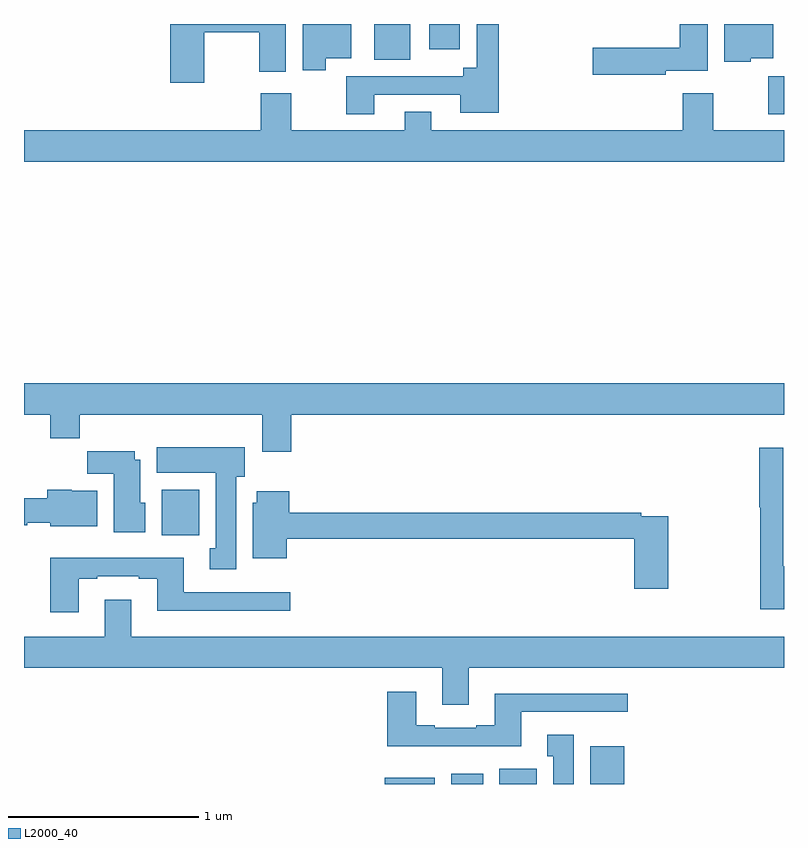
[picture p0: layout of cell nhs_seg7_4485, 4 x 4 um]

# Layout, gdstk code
import gdstk
lib = gdstk.Library(unit=1e-6, precision=1e-09)
def R(c, l, rs):  # rectangles x0, y0, x1, y1
    for r in rs: c.add(gdstk.rectangle(r[:2], r[2:], *l))
def P(c, l, *ps):  # polygons
    for p in ps: c.add(gdstk.Polygon(p, *l))
L2000_40 = (2000, 40)

nhs_seg7_4485 = lib.new_cell('nhs_seg7_4485')
R(nhs_seg7_4485, L2000_40, [(394.898,1004,395.161,1004.032), (395.249,1004,395.416,1004.053), (395.501,1004,395.698,1004.08), (395.981,1004,396.16,1004.2), (393.725,1005.308,393.922,1005.55), (396.916,1007.526,397,1007.724), (394.844,1007.813,395.032,1008), (395.132,1007.868,395.293,1008)])
P(nhs_seg7_4485, L2000_40, [(396.825,1007.819),(396.943,1007.819),(396.943,1008),(396.686,1008),(396.686,1007.801),(396.825,1007.801)],
  [(394.588,1007.819),(394.723,1007.819),(394.723,1008),(394.466,1008),(394.466,1007.757),(394.588,1007.757)],
  [(393.948,1007.956),(394.237,1007.956),(394.237,1007.748),(394.378,1007.748),(394.378,1008),(393.77,1008),(393.77,1007.691),(393.948,1007.691)],
  [(396.378,1007.753),(396.598,1007.753),(396.598,1008),(396.452,1008),(396.452,1007.876),(395.994,1007.876),(395.994,1007.734),(396.378,1007.734)],
  [(394.843,1007.628),(395.297,1007.628),(395.297,1007.534),(395.498,1007.534),(395.498,1008),(395.382,1008),(395.382,1007.77),(395.312,1007.77),(395.312,1007.724),(394.696,1007.724),(394.696,1007.526),(394.843,1007.526)],
  [(397,1007.44),(396.627,1007.44),(396.627,1007.635),(396.467,1007.635),(396.467,1007.44),(395.143,1007.44),(395.143,1007.539),(395.003,1007.539),(395.003,1007.44),(394.407,1007.44),(394.407,1007.635),(394.247,1007.635),(394.247,1007.44),(393,1007.44),(393,1007.276),(397,1007.276)],
  [(394.406,1005.944),(397,1005.944),(397,1006.108),(393,1006.108),(393,1005.944),(393.137,1005.944),(393.137,1005.82),(393.293,1005.82),(393.293,1005.944),(394.253,1005.944),(394.253,1005.75),(394.406,1005.75)],
  [(394.117,1005.618),(394.162,1005.618),(394.162,1005.772),(393.698,1005.772),(393.698,1005.638),(394.01,1005.638),(394.01,1005.242),(393.977,1005.242),(393.977,1005.129),(394.117,1005.129)],
  [(397,1005.147),(396.997,1005.147),(396.997,1005.769),(396.869,1005.769),(396.869,1005.456),(396.874,1005.456),(396.874,1004.919),(397,1004.919)],
  [(393.637,1005.48),(393.613,1005.48),(393.613,1005.706),(393.583,1005.706),(393.583,1005.751),(393.334,1005.751),(393.334,1005.632),(393.473,1005.632),(393.473,1005.326),(393.637,1005.326)],
  [(393.385,1005.544),(393.252,1005.544),(393.252,1005.55),(393.122,1005.55),(393.122,1005.504),(393,1005.504),(393,1005.362),(393.018,1005.362),(393.018,1005.374),(393.138,1005.374),(393.138,1005.356),(393.385,1005.356)],
  [(396.39,1005.408),(396.248,1005.408),(396.248,1005.428),(394.397,1005.428),(394.397,1005.541),(394.226,1005.541),(394.226,1005.48),(394.205,1005.48),(394.205,1005.188),(394.384,1005.188),(394.384,1005.292),(396.212,1005.292),(396.212,1005.027),(396.39,1005.027)],
  [(393.289,1005.081),(393.385,1005.081),(393.385,1005.093),(393.605,1005.093),(393.605,1005.081),(393.701,1005.081),(393.701,1004.912),(394.402,1004.912),(394.402,1005.009),(393.841,1005.009),(393.841,1005.19),(393.137,1005.19),(393.137,1004.904),(393.289,1004.904)],
  [(395.341,1004.612),(397,1004.612),(397,1004.776),(393.565,1004.776),(393.565,1004.971),(393.425,1004.971),(393.425,1004.776),(393,1004.776),(393,1004.612),(395.201,1004.612),(395.201,1004.418),(395.341,1004.418)],
  [(395.617,1004.379),(396.178,1004.379),(396.178,1004.476),(395.477,1004.476),(395.477,1004.308),(395.381,1004.308),(395.381,1004.295),(395.161,1004.295),(395.161,1004.308),(395.065,1004.308),(395.065,1004.485),(394.913,1004.485),(394.913,1004.198),(395.617,1004.198)],
  [(395.893,1004.26),(395.753,1004.26),(395.753,1004.147),(395.786,1004.147),(395.786,1004),(395.893,1004)])

lib.write_gds('nhs_seg7_4485.gds')
